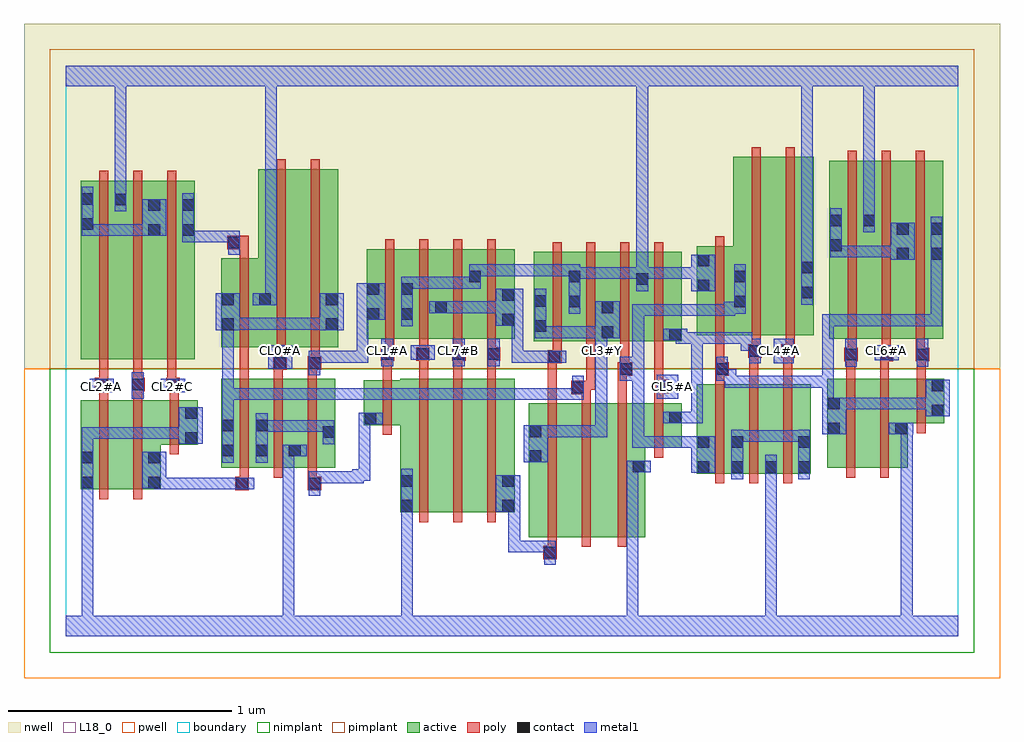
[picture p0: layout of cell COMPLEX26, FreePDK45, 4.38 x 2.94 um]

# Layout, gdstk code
import gdstk
lib = gdstk.Library(unit=1e-6, precision=1e-09)
def R(c, l, rs):  # rectangles x0, y0, x1, y1
    for r in rs: c.add(gdstk.rectangle(r[:2], r[2:], *l))
def A(c, l, x, y, w, h, nx, ny, dx, dy):  # array of equal rectangles
    R(c, l, [(x+i*dx, y+j*dy, x+i*dx+w, y+j*dy+h) for i in range(nx) for j in range(ny)])
active = (1, 0)
pwell = (2, 0)
nwell = (3, 0)
nimplant = (4, 0)
pimplant = (5, 0)
poly = (9, 0)
contact = (10, 0)
metal1 = (11, 0)
L18_0 = (18, 0)
boundary = (235, 0)

complex26 = lib.new_cell('COMPLEX26')
A(complex26, active, 1.348, 1.336, 0.212, 0.4, 3, 1, 0.152, 0)
R(complex26, active, [(2.076,0.446,2.256,1.046), (2.256,0.446,2.418,1.046), (2.418,0.446,2.598,1.046), (2.538,0.446,2.598,0.888), (1.5,0.556,1.68,1.156), (1.5,0.556,1.56,1.148), (1.68,0.556,1.832,1.156), (1.832,0.556,2.012,1.156), (1.952,0.556,2.012,1.156), (2.076,0.556,2.136,1.046), (0.066,0.66,0.126,1.06), (0.066,0.66,0.246,1.06), (0.246,0.66,0.426,1.06), (0.366,0.66,0.426,1.028), (2.828,0.73,2.888,1.13), (2.828,0.73,3.04,1.13), (2.98,0.73,3.04,1.13), (2.98,0.73,3.192,1.13), (3.132,0.73,3.34,1.13), (3.132,0.73,3.192,0.828), (3.28,0.73,3.34,1.13), (0.696,0.756,0.756,1.156), (0.696,0.756,0.908,1.156), (0.848,0.756,1.056,1.156), (0.848,0.756,0.908,0.976), (0.996,0.756,1.208,1.156), (0.996,0.756,1.056,0.864), (1.148,0.756,1.208,1.156), (3.414,0.756,3.474,1.156), (3.414,0.756,3.594,1.156), (3.594,0.756,3.774,1.156), (3.714,0.756,3.774,1.156), (2.538,0.846,2.762,1.046), (2.702,0.846,2.762,1.046), (0.366,0.86,0.59,1.06), (0.53,0.86,0.59,1.06), (1.336,0.948,1.396,1.148), (1.336,0.948,1.56,1.148), (3.714,0.956,3.938,1.156), (3.878,0.956,3.938,1.156), (0.066,1.244,0.274,2.044), (0.066,1.244,0.126,2.044), (0.214,1.244,0.426,2.044), (0.366,1.244,0.578,2.044), (0.518,1.244,0.578,2.044), (0.696,1.296,0.756,1.696), (0.696,1.296,0.922,1.696), (0.862,1.296,1.042,2.096), (1.042,1.296,1.222,2.096), (1.162,1.296,1.222,2.044), (0.862,1.31,0.922,2.096), (2.098,1.324,2.31,1.724), (2.098,1.324,2.158,1.644), (2.25,1.324,2.458,1.724), (2.398,1.324,2.614,1.724), (2.554,1.324,2.762,1.724), (2.702,1.324,2.762,1.644), (2.398,1.334,2.458,1.644), (3.422,1.334,3.482,2.044), (3.422,1.334,3.63,2.134), (3.57,1.334,3.782,2.134), (3.722,1.334,3.934,2.134), (3.874,1.334,3.934,2.044), (1.348,1.336,1.408,1.644), (1.804,1.336,2.012,1.736), (1.952,1.336,2.012,1.644), (2.828,1.35,3.052,1.75), (2.992,1.35,3.172,2.15), (2.992,1.35,3.052,2.15), (3.172,1.35,3.352,2.15), (3.292,1.35,3.352,2.044), (1.5,1.416,1.56,1.644), (1.652,1.446,1.712,1.644), (2.828,1.452,2.888,1.75), (2.25,1.472,2.31,1.644), (2.554,1.572,2.614,1.644), (1.804,1.584,1.864,1.644), (0.214,1.686,0.274,2.044), (0.366,1.686,0.426,2.044), (3.57,1.686,3.63,2.134), (3.722,1.686,3.782,2.044)])
R(complex26, pwell, [(-0.188,-0.188,4.188,1.2)])
R(complex26, nwell, [(-0.188,1.2,4.188,2.748)])
R(complex26, nimplant, [(-0.072,-0.072,4.072,1.2)])
R(complex26, pimplant, [(-0.072,1.2,4.072,2.632)])
A(complex26, poly, 1.584, 0.512, 0.04, 0.688, 3, 1, 0.152, 0)
A(complex26, poly, 2.912, 0.686, 0.04, 0.488, 3, 1, 0.152, 0)
A(complex26, poly, 0.78, 0.712, 0.04, 0.488, 3, 1, 0.152, 0)
A(complex26, poly, 0.15, 1.12, 0.04, 0.12, 3, 1, 0.152, 0)
A(complex26, poly, 0.78, 1.16, 0.04, 0.076, 3, 1, 0.152, 0)
A(complex26, poly, 1.584, 1.16, 0.04, 0.116, 3, 1, 0.152, 0)
A(complex26, poly, 0.15, 1.2, 0.04, 0.888, 3, 1, 0.152, 0)
A(complex26, poly, 3.49, 1.234, 0.06, 0.06, 3, 1, 0.16, 0)
A(complex26, poly, 3.506, 1.254, 0.04, 0.076, 3, 1, 0.152, 0)
A(complex26, poly, 1.432, 1.256, 0.04, 0.076, 4, 1, 0.152, 0)
A(complex26, poly, 2.182, 1.28, 0.04, 0.488, 4, 1, 0.152, 0)
A(complex26, poly, 3.506, 1.29, 0.04, 0.888, 3, 1, 0.152, 0)
A(complex26, poly, 1.432, 1.292, 0.04, 0.488, 4, 1, 0.152, 0)
R(complex26, poly, [(2.14,0.346,2.2,0.406), (2.16,0.366,2.2,0.442), (2.16,0.402,2.2,1.09), (2.312,0.402,2.352,1.09), (2.474,0.402,2.514,1.09), (0.15,0.616,0.19,1.104), (0.302,0.616,0.342,1.104), (0.76,0.656,0.82,0.716), (1.084,0.656,1.144,0.716), (0.78,0.676,0.82,0.752), (1.084,0.676,1.124,0.752), (3.498,0.712,3.538,1.2), (3.65,0.712,3.69,1.2), (2.638,0.802,2.678,1.09), (0.466,0.816,0.506,1.104), (1.42,0.904,1.46,1.192), (3.814,0.912,3.854,1.2), (2.16,1.05,2.2,1.264), (2.312,1.05,2.352,1.126), (2.474,1.05,2.514,1.21), (2.638,1.05,2.678,1.13), (0.15,1.064,0.19,1.14), (0.302,1.064,0.342,1.14), (0.466,1.064,0.506,1.14), (2.266,1.086,2.352,1.146), (2.638,1.09,2.706,1.15), (0.13,1.1,0.19,1.16), (0.294,1.1,0.354,1.16), (0.45,1.1,0.51,1.16), (0.466,1.1,0.506,1.14), (0.466,1.1,0.506,1.14), (2.312,1.106,2.352,1.146), (2.312,1.106,2.374,1.146), (2.334,1.106,2.374,1.32), (2.638,1.11,2.678,1.15), (2.638,1.11,2.678,1.15), (2.638,1.11,2.678,1.32), (0.15,1.12,0.19,1.16), (0.15,1.12,0.19,1.16), (0.302,1.12,0.342,1.16), (0.302,1.12,0.342,1.16), (2.912,1.134,2.952,1.21), (3.064,1.134,3.104,1.29), (3.216,1.134,3.256,1.29), (1.42,1.152,1.46,1.276), (3.498,1.16,3.538,1.274), (3.65,1.16,3.69,1.274), (3.814,1.16,3.854,1.274), (2.474,1.17,2.54,1.23), (2.912,1.17,2.972,1.23), (2.486,1.19,2.526,1.23), (2.486,1.19,2.526,1.23), (2.486,1.19,2.526,1.32), (2.912,1.19,2.952,1.23), (2.912,1.19,2.952,1.23), (2.912,1.19,2.952,1.346), (0.78,1.196,0.82,1.236), (0.78,1.196,0.82,1.236), (0.78,1.196,0.82,1.236), (0.78,1.196,0.82,1.292), (0.93,1.196,0.99,1.256), (0.932,1.196,0.972,1.236), (0.932,1.196,0.972,1.236), (1.084,1.196,1.124,1.236), (1.084,1.196,1.124,1.236), (1.084,1.196,1.144,1.256), (0.946,1.216,0.986,1.292), (1.098,1.216,1.138,1.292), (2.16,1.224,2.2,1.264), (2.16,1.224,2.2,1.264), (2.16,1.224,2.222,1.284), (1.412,1.236,1.472,1.296), (1.42,1.236,1.46,1.276), (1.42,1.236,1.46,1.276), (1.57,1.236,1.63,1.296), (1.584,1.236,1.624,1.276), (1.584,1.236,1.624,1.276), (1.732,1.236,1.792,1.296), (1.736,1.236,1.776,1.276), (1.736,1.236,1.776,1.276), (1.888,1.236,1.928,1.276), (1.888,1.236,1.928,1.276), (1.888,1.236,1.948,1.296), (2.182,1.244,2.222,1.32), (3.06,1.25,3.12,1.31), (3.064,1.25,3.104,1.29), (3.064,1.25,3.104,1.29), (3.208,1.25,3.268,1.31), (3.216,1.25,3.256,1.29), (3.216,1.25,3.256,1.29), (0.78,1.252,0.82,1.74), (0.946,1.252,0.986,2.14), (1.098,1.252,1.138,2.14), (3.506,1.254,3.546,1.294), (3.506,1.254,3.546,1.294), (3.658,1.254,3.698,1.294), (3.658,1.254,3.698,1.294), (3.81,1.254,3.85,1.294), (3.81,1.254,3.85,1.294), (3.076,1.27,3.116,1.346), (3.228,1.27,3.268,1.346), (2.912,1.306,2.952,1.794), (3.076,1.306,3.116,2.194), (3.228,1.306,3.268,2.194), (0.78,1.7,0.82,1.776), (0.724,1.736,0.82,1.796)])
A(complex26, contact, 2.832, 0.734, 0.052, 0.052, 3, 1, 0.152, 0)
A(complex26, contact, 3.494, 1.238, 0.052, 0.052, 3, 1, 0.16, 0)
R(complex26, contact, [(2.144,0.35,2.196,0.402), (1.504,0.56,1.556,0.612), (1.956,0.56,2.008,0.612), (0.764,0.66,0.816,0.712), (1.088,0.66,1.14,0.712), (0.07,0.664,0.122,0.716), (0.37,0.664,0.422,0.716), (1.504,0.672,1.556,0.724), (1.956,0.672,2.008,0.724), (3.284,0.734,3.336,0.786), (2.542,0.736,2.594,0.788), (0.07,0.776,0.122,0.828), (0.37,0.776,0.422,0.828), (2.08,0.782,2.132,0.834), (0.7,0.808,0.752,0.86), (0.852,0.808,0.904,0.86), (1,0.808,1.052,0.86), (2.832,0.846,2.884,0.898), (2.984,0.846,3.036,0.898), (3.284,0.846,3.336,0.898), (0.534,0.864,0.586,0.916), (1.152,0.89,1.204,0.942), (2.08,0.894,2.132,0.946), (3.418,0.906,3.47,0.958), (3.718,0.906,3.77,0.958), (0.7,0.92,0.752,0.972), (0.852,0.92,0.904,0.972), (1.34,0.952,1.392,1.004), (2.706,0.956,2.758,1.008), (0.534,0.976,0.586,1.028), (3.882,0.988,3.934,1.04), (3.418,1.018,3.47,1.07), (2.27,1.09,2.322,1.142), (2.65,1.094,2.702,1.146), (3.882,1.1,3.934,1.152), (0.134,1.104,0.186,1.156), (0.298,1.104,0.35,1.156), (0.454,1.104,0.506,1.156), (2.484,1.174,2.536,1.226), (2.916,1.174,2.968,1.226), (0.934,1.2,0.986,1.252), (1.088,1.2,1.14,1.252), (2.164,1.228,2.216,1.28), (1.416,1.24,1.468,1.292), (1.574,1.24,1.626,1.292), (1.736,1.24,1.788,1.292), (1.892,1.24,1.944,1.292), (3.064,1.254,3.116,1.306), (3.212,1.254,3.264,1.306), (2.706,1.328,2.758,1.38), (2.402,1.338,2.454,1.39), (2.102,1.366,2.154,1.418), (0.7,1.374,0.752,1.426), (1.166,1.374,1.218,1.426), (1.956,1.394,2.008,1.446), (1.352,1.42,1.404,1.472), (1.504,1.42,1.556,1.472), (1.656,1.45,1.708,1.502), (2.402,1.45,2.454,1.502), (2.254,1.476,2.306,1.528), (2.996,1.476,3.048,1.528), (2.102,1.478,2.154,1.53), (0.7,1.486,0.752,1.538), (0.866,1.486,0.918,1.538), (1.166,1.486,1.218,1.538), (1.956,1.506,2.008,1.558), (3.296,1.516,3.348,1.568), (1.352,1.532,1.404,1.584), (1.504,1.532,1.556,1.584), (2.832,1.548,2.884,1.6), (2.558,1.576,2.61,1.628), (1.808,1.588,1.86,1.64), (2.254,1.588,2.306,1.64), (2.996,1.588,3.048,1.64), (3.296,1.628,3.348,1.68), (2.832,1.66,2.884,1.712), (3.726,1.69,3.778,1.742), (3.878,1.69,3.93,1.742), (3.426,1.728,3.478,1.78), (0.728,1.74,0.78,1.792), (0.37,1.796,0.422,1.848), (0.522,1.796,0.574,1.848), (3.726,1.802,3.778,1.854), (3.878,1.802,3.93,1.854), (0.07,1.824,0.122,1.876), (3.426,1.84,3.478,1.892), (3.574,1.84,3.626,1.892), (0.37,1.908,0.422,1.96), (0.522,1.908,0.574,1.96), (0.218,1.934,0.27,1.986), (0.07,1.936,0.122,1.988)])
A(complex26, metal1, 3.446, 1.018, 0.052, 0.052, 3, 1, 0.11, 0)
R(complex26, metal1, [(0,0,4,0.092), (0.07,0.04,0.122,0.092), (0.07,0.04,0.122,0.092), (0.07,0.04,0.122,0.092), (0.07,0.04,0.122,0.092), (0.07,0.04,0.122,0.092), (0.07,0.04,0.122,0.092), (0.07,0.04,0.122,0.092), (0.07,0.04,0.122,0.092), (0.07,0.04,0.122,0.688), (0.972,0.04,1.024,0.092), (0.972,0.04,1.024,0.092), (0.972,0.04,1.024,0.092), (0.972,0.04,1.024,0.092), (0.972,0.04,1.024,0.092), (0.972,0.04,1.024,0.092), (0.972,0.04,1.024,0.092), (0.972,0.04,1.024,0.092), (0.972,0.04,1.024,0.092), (0.972,0.04,1.024,0.092), (0.972,0.04,1.024,0.092), (0.972,0.04,1.024,0.092), (0.972,0.04,1.024,0.86), (1.504,0.04,1.556,0.092), (1.504,0.04,1.556,0.092), (1.504,0.04,1.556,0.092), (1.504,0.04,1.556,0.092), (1.504,0.04,1.556,0.092), (1.504,0.04,1.556,0.092), (1.504,0.04,1.556,0.092), (1.504,0.04,1.556,0.092), (1.504,0.04,1.556,0.584), (2.514,0.04,2.566,0.092), (2.514,0.04,2.566,0.092), (2.514,0.04,2.566,0.092), (2.514,0.04,2.566,0.092), (2.514,0.04,2.566,0.092), (2.514,0.04,2.566,0.092), (2.514,0.04,2.566,0.788), (3.136,0.04,3.188,0.092), (3.136,0.04,3.188,0.092), (3.136,0.04,3.188,0.716), (3.744,0.04,3.796,0.092), (3.744,0.04,3.796,0.092), (3.744,0.04,3.796,0.092), (3.744,0.04,3.796,0.092), (3.744,0.04,3.796,0.958), (2.144,0.322,2.196,0.43), (1.984,0.378,2.036,0.43), (1.984,0.378,2.196,0.43), (1.984,0.378,2.036,0.612), (2.144,0.378,2.196,0.43), (2.144,0.378,2.196,0.43), (1.504,0.532,1.556,0.752), (1.928,0.56,2.036,0.724), (1.088,0.632,1.14,0.74), (0.07,0.636,0.122,0.856), (0.07,0.636,0.122,0.688), (0.07,0.636,0.122,0.688), (0.07,0.636,0.122,0.688), (0.07,0.636,0.122,0.688), (0.396,0.66,0.448,0.712), (0.396,0.66,0.448,0.712), (0.396,0.66,0.642,0.712), (0.396,0.66,0.448,0.716), (0.59,0.66,0.642,0.712), (0.59,0.66,0.668,0.712), (0.616,0.66,0.668,0.712), (0.616,0.66,0.788,0.712), (0.736,0.66,0.844,0.712), (0.342,0.664,0.45,0.828), (0.396,0.664,0.448,0.716), (3.136,0.664,3.188,0.716), (3.136,0.664,3.188,0.716), (3.136,0.664,3.188,0.716), (3.136,0.664,3.188,0.716), (3.136,0.664,3.188,0.716), (3.136,0.664,3.188,0.716), (3.136,0.664,3.188,0.716), (3.136,0.664,3.188,0.716), (3.136,0.664,3.188,0.716), (3.136,0.664,3.188,0.758), (1.088,0.688,1.336,0.74), (1.284,0.688,1.336,0.75), (1.284,0.698,1.364,0.75), (1.312,0.698,1.364,0.75), (1.312,0.698,1.364,0.75), (1.312,0.698,1.364,0.75), (1.312,0.698,1.364,0.75), (1.312,0.698,1.364,0.75), (1.312,0.698,1.364,1.004), (2.984,0.706,3.036,0.926), (3.136,0.706,3.188,0.814), (3.284,0.706,3.336,0.926), (2.804,0.734,2.912,0.898), (2.514,0.736,2.566,0.788), (2.514,0.736,2.566,0.788), (2.514,0.736,2.622,0.788), (0.7,0.78,0.752,1), (0.852,0.78,0.904,1), (2.052,0.782,2.16,0.946), (0.07,0.804,0.122,0.856), (0.07,0.804,0.122,0.856), (0.07,0.804,0.122,0.938), (0.972,0.808,1.08,0.86), (2.54,0.846,2.592,0.898), (2.54,0.846,2.592,1.254), (2.54,0.846,2.746,0.898), (2.694,0.846,2.746,0.898), (2.694,0.846,2.746,0.898), (2.694,0.846,2.746,0.898), (2.694,0.846,2.856,0.898), (1.152,0.862,1.204,0.97), (0.506,0.864,0.614,1.028), (2.984,0.872,3.112,0.924), (3.06,0.872,3.112,0.924), (3.06,0.872,3.222,0.924), (3.17,0.872,3.222,0.924), (3.17,0.872,3.222,0.924), (3.17,0.872,3.222,0.924), (3.17,0.872,3.336,0.924), (0.07,0.886,0.122,0.938), (0.07,0.886,0.122,0.938), (0.07,0.886,0.122,0.938), (0.07,0.886,0.122,0.938), (0.07,0.886,0.122,0.938), (0.07,0.886,0.232,0.938), (0.18,0.886,0.232,0.938), (0.18,0.886,0.232,0.938), (0.18,0.886,0.232,0.938), (0.18,0.886,0.448,0.938), (0.396,0.886,0.448,0.938), (0.396,0.886,0.558,0.938), (0.506,0.886,0.558,0.938), (0.506,0.886,0.558,0.938), (2.108,0.894,2.16,0.946), (2.108,0.894,2.16,0.946), (2.108,0.894,2.306,0.946), (2.254,0.894,2.306,0.946), (2.254,0.894,2.306,0.946), (2.254,0.894,2.306,0.946), (2.254,0.894,2.426,0.946), (2.374,0.894,2.426,0.946), (2.374,0.894,2.426,1.278), (3.39,0.906,3.498,1.07), (3.69,0.906,3.798,0.958), (3.744,0.906,3.796,0.958), (3.744,0.906,3.796,0.958), (3.744,0.906,3.796,0.958), (3.744,0.906,3.796,0.958), (3.744,0.906,3.796,0.958), (3.744,0.906,3.796,0.958), (3.744,0.906,3.796,0.958), (3.744,0.906,3.796,0.958), (0.852,0.918,1.014,0.97), (0.962,0.918,1.014,0.97), (0.962,0.918,1.014,0.97), (0.962,0.918,1.014,0.97), (0.962,0.918,1.204,0.97), (1.152,0.918,1.204,0.97), (1.152,0.918,1.204,0.97), (0.7,0.948,0.752,1.114), (1.312,0.952,1.42,1.004), (2.678,0.956,2.856,1.008), (2.804,0.956,2.856,1.364), (3.854,0.988,3.962,1.152), (3.39,1.018,3.442,1.168), (3.446,1.018,3.498,1.07), (3.446,1.018,3.608,1.07), (3.556,1.018,3.718,1.07), (3.666,1.018,3.718,1.07), (3.666,1.018,3.718,1.07), (3.666,1.018,3.906,1.07), (3.854,1.018,3.906,1.07), (3.854,1.018,3.906,1.07), (0.7,1.062,0.752,1.114), (0.7,1.062,0.752,1.114), (0.7,1.062,0.752,1.114), (0.7,1.062,0.89,1.114), (0.7,1.062,0.752,1.426), (0.838,1.062,0.89,1.114), (0.838,1.062,0.89,1.114), (0.838,1.062,0.89,1.114), (0.838,1.062,1.06,1.114), (1.008,1.062,1.06,1.114), (1.008,1.062,1.124,1.114), (1.072,1.062,1.124,1.114), (1.072,1.062,1.332,1.114), (1.28,1.062,1.332,1.114), (1.28,1.062,1.446,1.114), (1.394,1.062,1.446,1.114), (1.394,1.062,1.446,1.114), (1.394,1.062,1.446,1.114), (1.394,1.062,1.556,1.114), (1.504,1.062,1.556,1.114), (1.504,1.062,1.556,1.114), (1.504,1.062,1.556,1.114), (1.504,1.062,1.666,1.114), (1.614,1.062,1.666,1.114), (1.614,1.062,1.666,1.114), (1.614,1.062,1.666,1.114), (1.614,1.062,1.846,1.114), (1.794,1.062,1.846,1.114), (1.794,1.062,1.97,1.114), (1.918,1.062,1.97,1.114), (1.918,1.062,1.97,1.114), (1.918,1.062,1.97,1.114), (1.918,1.062,2.196,1.114), (2.144,1.062,2.196,1.114), (2.144,1.062,2.196,1.114), (2.144,1.062,2.196,1.114), (2.144,1.062,2.306,1.114), (2.254,1.062,2.306,1.114), (2.254,1.062,2.322,1.114), (2.27,1.062,2.322,1.17), (0.294,1.066,0.35,1.184), (2.65,1.066,2.746,1.174), (0.106,1.094,0.214,1.156), (0.426,1.094,0.534,1.156), (2.954,1.116,3.112,1.168), (2.954,1.116,3.006,1.198), (3.06,1.116,3.112,1.168), (3.06,1.116,3.188,1.168), (3.136,1.116,3.188,1.168), (3.136,1.116,3.332,1.168), (3.28,1.116,3.332,1.168), (3.28,1.116,3.332,1.168), (3.28,1.116,3.332,1.168), (3.28,1.116,3.442,1.168), (3.39,1.116,3.442,1.168), (3.39,1.116,3.442,1.444), (2.484,1.146,2.536,1.254), (2.916,1.146,2.968,1.254), (2.916,1.146,3.006,1.198), (1.088,1.172,1.14,1.28), (0.906,1.2,1.014,1.306), (2.484,1.202,2.592,1.254), (2.54,1.202,2.592,1.254), (2.54,1.202,2.592,1.254), (2.54,1.202,2.592,1.254), (2.54,1.202,2.592,1.254), (2.54,1.202,2.592,1.254), (2.54,1.202,2.592,1.254), (2.54,1.202,2.592,1.254), (2.54,1.202,2.592,1.49), (3.494,1.21,3.546,1.334), (3.814,1.21,3.866,1.334), (1.414,1.212,1.468,1.334), (1.734,1.212,1.788,1.334), (1.892,1.212,1.946,1.334), (2.374,1.226,2.426,1.334), (3.064,1.226,3.116,1.334), (3.174,1.226,3.264,1.334), (1.088,1.228,1.232,1.28), (1.18,1.228,1.232,1.28), (1.18,1.228,1.356,1.28), (1.304,1.228,1.356,1.28), (1.304,1.228,1.356,1.472), (1.998,1.228,2.05,1.28), (1.998,1.228,2.188,1.28), (1.998,1.228,2.05,1.446), (2.136,1.228,2.188,1.28), (2.136,1.228,2.188,1.28), (2.136,1.228,2.244,1.28), (3.626,1.238,3.734,1.306), (1.546,1.24,1.654,1.306), (2.374,1.282,2.426,1.39), (3.026,1.282,3.116,1.334), (3.026,1.282,3.078,1.364), (2.734,1.312,2.786,1.38), (2.734,1.312,2.856,1.364), (2.804,1.312,2.856,1.364), (2.804,1.312,2.856,1.364), (2.804,1.312,2.856,1.364), (2.804,1.312,2.856,1.364), (2.804,1.312,3.002,1.364), (2.95,1.312,3.002,1.364), (2.95,1.312,3.078,1.364), (2.678,1.328,2.786,1.38), (2.102,1.338,2.154,1.558), (2.102,1.338,2.16,1.39), (2.108,1.338,2.16,1.39), (2.108,1.338,2.316,1.39), (2.264,1.338,2.316,1.39), (2.264,1.338,2.316,1.39), (2.264,1.338,2.316,1.39), (2.264,1.338,2.426,1.39), (2.374,1.338,2.426,1.39), (2.374,1.338,2.426,1.39), (2.374,1.338,2.482,1.502), (0.672,1.374,0.78,1.538), (0.7,1.374,0.752,1.426), (0.7,1.374,0.752,1.426), (1.138,1.374,1.246,1.538), (0.728,1.376,0.78,1.428), (0.728,1.376,0.78,1.428), (0.728,1.376,0.89,1.428), (0.838,1.376,0.89,1.428), (0.838,1.376,0.89,1.428), (0.838,1.376,0.89,1.428), (0.838,1.376,1.08,1.428), (1.028,1.376,1.08,1.428), (1.028,1.376,1.19,1.428), (1.138,1.376,1.19,1.428), (1.138,1.376,1.19,1.428), (1.504,1.392,1.556,1.612), (3.39,1.392,3.446,1.444), (3.394,1.392,3.446,1.444), (3.394,1.392,3.446,1.444), (3.394,1.392,3.608,1.444), (3.556,1.392,3.608,1.444), (3.556,1.392,3.608,1.444), (3.556,1.392,3.608,1.444), (3.556,1.392,3.796,1.444), (3.744,1.392,3.796,1.444), (3.744,1.392,3.93,1.444), (3.878,1.392,3.93,1.714), (3.878,1.392,3.93,1.444), (3.878,1.392,3.93,1.444), (3.878,1.392,3.93,1.444), (1.928,1.394,2.05,1.558), (1.304,1.42,1.432,1.584), (2.54,1.438,2.592,1.49), (2.54,1.438,2.746,1.49), (2.694,1.438,2.746,1.49), (2.694,1.438,2.746,1.49), (2.694,1.438,2.746,1.49), (2.694,1.438,2.896,1.49), (2.844,1.438,2.896,1.49), (2.844,1.438,2.896,1.49), (2.844,1.438,2.896,1.49), (2.844,1.438,3.002,1.49), (2.95,1.438,3.002,1.5), (2.254,1.448,2.306,1.668), (2.95,1.448,3.048,1.5), (2.996,1.448,3.048,1.668), (1.628,1.45,1.736,1.502), (1.684,1.45,1.736,1.502), (1.684,1.45,1.736,1.502), (1.684,1.45,1.846,1.502), (1.794,1.45,1.846,1.502), (1.794,1.45,1.846,1.502), (1.794,1.45,1.846,1.502), (1.794,1.45,1.98,1.502), (0.838,1.486,0.946,1.538), (0.894,1.486,0.946,2.52), (3.296,1.488,3.348,1.708), (2.558,1.548,2.61,1.656), (2.804,1.548,2.912,1.712), (1.504,1.56,1.556,1.612), (1.504,1.56,1.556,1.612), (1.504,1.56,1.666,1.612), (1.614,1.56,1.666,1.612), (1.614,1.56,1.666,1.612), (1.614,1.56,1.666,1.612), (1.614,1.56,1.86,1.612), (1.808,1.56,1.86,1.668), (2.254,1.604,2.306,1.656), (2.254,1.604,2.306,1.656), (2.254,1.604,2.456,1.656), (2.404,1.604,2.456,1.656), (2.404,1.604,2.456,1.656), (2.404,1.604,2.456,1.656), (2.404,1.604,2.61,1.656), (2.558,1.604,2.61,1.656), (2.558,1.604,2.61,1.656), (2.558,1.604,2.61,1.656), (2.558,1.604,2.61,1.656), (2.558,1.604,2.61,1.656), (2.558,1.604,2.61,1.656), (2.558,1.604,2.61,1.656), (2.558,1.604,2.61,1.656), (2.558,1.604,2.61,1.656), (2.558,1.604,2.61,1.656), (2.558,1.604,2.61,1.656), (2.558,1.604,2.61,1.656), (2.558,1.604,2.746,1.656), (2.558,1.604,2.61,2.52), (2.694,1.604,2.746,1.656), (2.694,1.604,2.746,1.656), (2.694,1.604,2.746,1.656), (2.694,1.604,2.856,1.656), (1.808,1.616,1.994,1.668), (1.942,1.616,1.994,1.668), (1.942,1.616,1.994,1.668), (1.942,1.616,1.994,1.668), (1.942,1.616,2.196,1.668), (2.144,1.616,2.196,1.668), (2.144,1.616,2.196,1.668), (2.144,1.616,2.196,1.668), (2.144,1.616,2.306,1.668), (3.296,1.656,3.348,1.98), (3.878,1.662,3.93,1.882), (3.698,1.69,3.806,1.854), (3.426,1.7,3.478,1.92), (3.426,1.7,3.478,1.752), (3.426,1.7,3.478,1.752), (3.426,1.7,3.608,1.752), (3.556,1.7,3.608,1.752), (3.556,1.7,3.608,1.752), (3.556,1.7,3.608,1.752), (3.556,1.7,3.75,1.752), (0.728,1.712,0.78,1.82), (0.522,1.768,0.574,1.988), (0.522,1.768,0.78,1.82), (0.728,1.768,0.78,1.82), (0.728,1.768,0.78,1.82), (0.07,1.796,0.122,2.016), (0.07,1.796,0.122,1.848), (0.07,1.796,0.122,1.848), (0.07,1.796,0.284,1.848), (0.232,1.796,0.284,1.848), (0.232,1.796,0.284,1.848), (0.232,1.796,0.284,1.848), (0.232,1.796,0.394,1.848), (0.342,1.796,0.45,1.96), (3.574,1.812,3.626,1.92), (3.574,1.868,3.626,1.92), (3.574,1.868,3.626,1.92), (3.574,1.868,3.626,1.92), (3.574,1.868,3.626,1.92), (3.574,1.868,3.626,1.92), (3.574,1.868,3.626,1.92), (3.574,1.868,3.626,2.52), (0.218,1.906,0.27,2.014), (3.296,1.928,3.348,1.98), (3.296,1.928,3.348,1.98), (3.296,1.928,3.348,1.98), (3.296,1.928,3.348,1.98), (3.296,1.928,3.348,1.98), (3.296,1.928,3.348,2.52), (0.218,1.962,0.27,2.52), (0,2.468,4,2.56), (0.218,2.468,0.27,2.52), (0.218,2.468,0.27,2.52), (0.218,2.468,0.27,2.52), (0.218,2.468,0.27,2.52), (0.218,2.468,0.27,2.52), (0.218,2.468,0.27,2.52), (0.218,2.468,0.27,2.52), (0.218,2.468,0.27,2.52), (0.894,2.468,0.946,2.52), (0.894,2.468,0.946,2.52), (0.894,2.468,0.946,2.52), (0.894,2.468,0.946,2.52), (0.894,2.468,0.946,2.52), (0.894,2.468,0.946,2.52), (0.894,2.468,0.946,2.52), (0.894,2.468,0.946,2.52), (2.558,2.468,2.61,2.52), (2.558,2.468,2.61,2.52), (2.558,2.468,2.61,2.52), (2.558,2.468,2.61,2.52), (3.296,2.468,3.348,2.52), (3.296,2.468,3.348,2.52), (3.574,2.468,3.626,2.52), (3.574,2.468,3.626,2.52)])
A(complex26, L18_0, 0.134, 1.094, 0.052, 0.052, 3, 1, 0.16, 0)
A(complex26, L18_0, 1.414, 1.254, 0.052, 0.052, 4, 1, 0.16, 0)
A(complex26, L18_0, 3.494, 1.254, 0.052, 0.052, 3, 1, 0.16, 0)
R(complex26, L18_0, [(0,0,4,0.092), (0.07,0.04,0.122,0.092), (0.07,0.04,0.122,0.092), (0.07,0.04,0.122,0.092), (0.07,0.04,0.122,0.092), (0.07,0.04,0.122,0.092), (0.07,0.04,0.122,0.092), (0.07,0.04,0.122,0.092), (0.07,0.04,0.122,0.092), (0.07,0.04,0.122,0.688), (0.972,0.04,1.024,0.092), (0.972,0.04,1.024,0.092), (0.972,0.04,1.024,0.092), (0.972,0.04,1.024,0.092), (0.972,0.04,1.024,0.092), (0.972,0.04,1.024,0.092), (0.972,0.04,1.024,0.092), (0.972,0.04,1.024,0.092), (0.972,0.04,1.024,0.092), (0.972,0.04,1.024,0.092), (0.972,0.04,1.024,0.092), (0.972,0.04,1.024,0.092), (0.972,0.04,1.024,0.86), (1.504,0.04,1.556,0.092), (1.504,0.04,1.556,0.092), (1.504,0.04,1.556,0.092), (1.504,0.04,1.556,0.092), (1.504,0.04,1.556,0.092), (1.504,0.04,1.556,0.092), (1.504,0.04,1.556,0.092), (1.504,0.04,1.556,0.092), (1.504,0.04,1.556,0.584), (2.514,0.04,2.566,0.092), (2.514,0.04,2.566,0.092), (2.514,0.04,2.566,0.092), (2.514,0.04,2.566,0.092), (2.514,0.04,2.566,0.092), (2.514,0.04,2.566,0.092), (2.514,0.04,2.566,0.788), (3.136,0.04,3.188,0.092), (3.136,0.04,3.188,0.092), (3.136,0.04,3.188,0.716), (3.744,0.04,3.796,0.092), (3.744,0.04,3.796,0.092), (3.744,0.04,3.796,0.092), (3.744,0.04,3.796,0.092), (3.744,0.04,3.796,0.958), (1.504,0.532,1.556,0.752), (0.07,0.636,0.122,0.688), (0.07,0.636,0.122,0.688), (0.07,0.636,0.122,0.688), (0.07,0.636,0.122,0.688), (0.07,0.636,0.122,0.856), (3.136,0.664,3.188,0.716), (3.136,0.664,3.188,0.716), (3.136,0.664,3.188,0.716), (3.136,0.664,3.188,0.716), (3.136,0.664,3.188,0.716), (3.136,0.664,3.188,0.716), (3.136,0.664,3.188,0.716), (3.136,0.664,3.188,0.716), (3.136,0.664,3.188,0.716), (3.136,0.664,3.188,0.758), (3.136,0.706,3.188,0.814), (2.514,0.736,2.566,0.788), (2.514,0.736,2.566,0.788), (2.514,0.736,2.622,0.788), (2.052,0.782,2.16,0.946), (0.07,0.804,0.122,0.856), (0.07,0.804,0.122,0.856), (0.07,0.804,0.122,0.938), (0.972,0.808,1.08,0.86), (0.506,0.864,0.614,1.028), (0.07,0.886,0.122,0.938), (0.07,0.886,0.122,0.938), (0.07,0.886,0.122,0.938), (0.07,0.886,0.122,0.938), (0.07,0.886,0.122,0.938), (0.07,0.886,0.232,0.938), (0.18,0.886,0.232,0.938), (0.18,0.886,0.232,0.938), (0.18,0.886,0.232,0.938), (0.18,0.886,0.448,0.938), (0.396,0.886,0.448,0.938), (0.396,0.886,0.558,0.938), (0.506,0.886,0.558,0.938), (0.506,0.886,0.558,0.938), (2.108,0.894,2.16,0.946), (2.108,0.894,2.16,0.946), (2.108,0.894,2.306,0.946), (2.254,0.894,2.306,0.946), (2.254,0.894,2.306,0.946), (2.254,0.894,2.306,0.946), (2.254,0.894,2.426,0.946), (2.374,0.894,2.426,0.946), (2.374,0.894,2.426,1.278), (3.69,0.906,3.798,0.958), (3.744,0.906,3.796,0.958), (3.744,0.906,3.796,0.958), (3.744,0.906,3.796,0.958), (3.744,0.906,3.796,0.958), (3.744,0.906,3.796,0.958), (3.744,0.906,3.796,0.958), (3.744,0.906,3.796,0.958), (3.744,0.906,3.796,0.958), (0.294,1.066,0.35,1.184), (2.65,1.066,2.746,1.174), (0.106,1.094,0.214,1.156), (0.426,1.094,0.534,1.156), (2.694,1.094,2.746,1.146), (0.906,1.2,1.014,1.306), (3.494,1.21,3.546,1.334), (3.814,1.21,3.866,1.334), (1.414,1.212,1.468,1.334), (1.734,1.212,1.788,1.334), (1.892,1.212,1.946,1.334), (2.374,1.226,2.426,1.334), (3.174,1.226,3.264,1.334), (3.626,1.238,3.734,1.306), (1.546,1.24,1.654,1.306), (0.934,1.254,0.986,1.306), (2.374,1.254,2.426,1.306), (3.174,1.254,3.226,1.306), (2.374,1.282,2.426,1.39), (2.102,1.338,2.154,1.558), (2.102,1.338,2.16,1.39), (2.108,1.338,2.16,1.39), (2.108,1.338,2.316,1.39), (2.264,1.338,2.316,1.39), (2.264,1.338,2.316,1.39), (2.264,1.338,2.316,1.39), (2.264,1.338,2.426,1.39), (2.374,1.338,2.426,1.39), (2.374,1.338,2.426,1.39), (2.374,1.338,2.482,1.502), (1.504,1.392,1.556,1.612), (2.254,1.448,2.306,1.668), (0.838,1.486,0.946,1.538), (0.894,1.486,0.946,2.52), (3.296,1.488,3.348,1.708), (2.558,1.548,2.61,1.656), (2.804,1.548,2.912,1.712), (1.504,1.56,1.556,1.612), (1.504,1.56,1.556,1.612), (1.504,1.56,1.666,1.612), (1.614,1.56,1.666,1.612), (1.614,1.56,1.666,1.612), (1.614,1.56,1.666,1.612), (1.614,1.56,1.86,1.612), (1.808,1.56,1.86,1.668), (2.254,1.604,2.306,1.656), (2.254,1.604,2.306,1.656), (2.254,1.604,2.456,1.656), (2.404,1.604,2.456,1.656), (2.404,1.604,2.456,1.656), (2.404,1.604,2.456,1.656), (2.404,1.604,2.61,1.656), (2.558,1.604,2.61,1.656), (2.558,1.604,2.61,1.656), (2.558,1.604,2.61,1.656), (2.558,1.604,2.61,1.656), (2.558,1.604,2.61,1.656), (2.558,1.604,2.61,1.656), (2.558,1.604,2.61,1.656), (2.558,1.604,2.61,1.656), (2.558,1.604,2.61,1.656), (2.558,1.604,2.61,1.656), (2.558,1.604,2.61,1.656), (2.558,1.604,2.61,1.656), (2.558,1.604,2.61,2.52), (2.558,1.604,2.746,1.656), (2.694,1.604,2.746,1.656), (2.694,1.604,2.746,1.656), (2.694,1.604,2.746,1.656), (2.694,1.604,2.856,1.656), (1.808,1.616,1.994,1.668), (1.942,1.616,1.994,1.668), (1.942,1.616,1.994,1.668), (1.942,1.616,1.994,1.668), (1.942,1.616,2.196,1.668), (2.144,1.616,2.196,1.668), (2.144,1.616,2.196,1.668), (2.144,1.616,2.196,1.668), (2.144,1.616,2.306,1.668), (3.296,1.656,3.348,1.98), (3.574,1.812,3.626,1.92), (3.574,1.868,3.626,1.92), (3.574,1.868,3.626,1.92), (3.574,1.868,3.626,1.92), (3.574,1.868,3.626,1.92), (3.574,1.868,3.626,1.92), (3.574,1.868,3.626,1.92), (3.574,1.868,3.626,2.52), (0.218,1.906,0.27,2.014), (3.296,1.928,3.348,1.98), (3.296,1.928,3.348,1.98), (3.296,1.928,3.348,1.98), (3.296,1.928,3.348,1.98), (3.296,1.928,3.348,1.98), (3.296,1.928,3.348,2.52), (0.218,1.962,0.27,2.52), (0,2.468,4,2.56), (0.218,2.468,0.27,2.52), (0.218,2.468,0.27,2.52), (0.218,2.468,0.27,2.52), (0.218,2.468,0.27,2.52), (0.218,2.468,0.27,2.52), (0.218,2.468,0.27,2.52), (0.218,2.468,0.27,2.52), (0.218,2.468,0.27,2.52), (0.894,2.468,0.946,2.52), (0.894,2.468,0.946,2.52), (0.894,2.468,0.946,2.52), (0.894,2.468,0.946,2.52), (0.894,2.468,0.946,2.52), (0.894,2.468,0.946,2.52), (0.894,2.468,0.946,2.52), (0.894,2.468,0.946,2.52), (2.558,2.468,2.61,2.52), (2.558,2.468,2.61,2.52), (2.558,2.468,2.61,2.52), (2.558,2.468,2.61,2.52), (3.296,2.468,3.348,2.52), (3.296,2.468,3.348,2.52), (3.574,2.468,3.626,2.52), (3.574,2.468,3.626,2.52)])
R(complex26, boundary, [(0,0,4,2.56)])
complex26.add(gdstk.Label('CL0#A', (0.96,1.28), layer=11, texttype=0))
complex26.add(gdstk.Label('CL1#A', (1.44,1.28), layer=11, texttype=0))
complex26.add(gdstk.Label('CL2#A', (0.16,1.12), layer=11, texttype=0))
complex26.add(gdstk.Label('CL2#B', (0.32,1.12), layer=11, texttype=0))
complex26.add(gdstk.Label('CL2#C', (0.48,1.12), layer=11, texttype=0))
complex26.add(gdstk.Label('CL3#Y', (2.4,1.28), layer=11, texttype=0))
complex26.add(gdstk.Label('CL4#A', (3.2,1.28), layer=11, texttype=0))
complex26.add(gdstk.Label('CL5#A', (2.72,1.12), layer=11, texttype=0))
complex26.add(gdstk.Label('CL6#A', (3.68,1.28), layer=11, texttype=0))
complex26.add(gdstk.Label('CL6#B', (3.52,1.28), layer=11, texttype=0))
complex26.add(gdstk.Label('CL6#C', (3.84,1.28), layer=11, texttype=0))
complex26.add(gdstk.Label('CL7#A', (1.6,1.28), layer=11, texttype=0))
complex26.add(gdstk.Label('CL7#B', (1.76,1.28), layer=11, texttype=0))
complex26.add(gdstk.Label('CL7#C', (1.92,1.28), layer=11, texttype=0))

lib.write_gds('COMPLEX26.gds')
